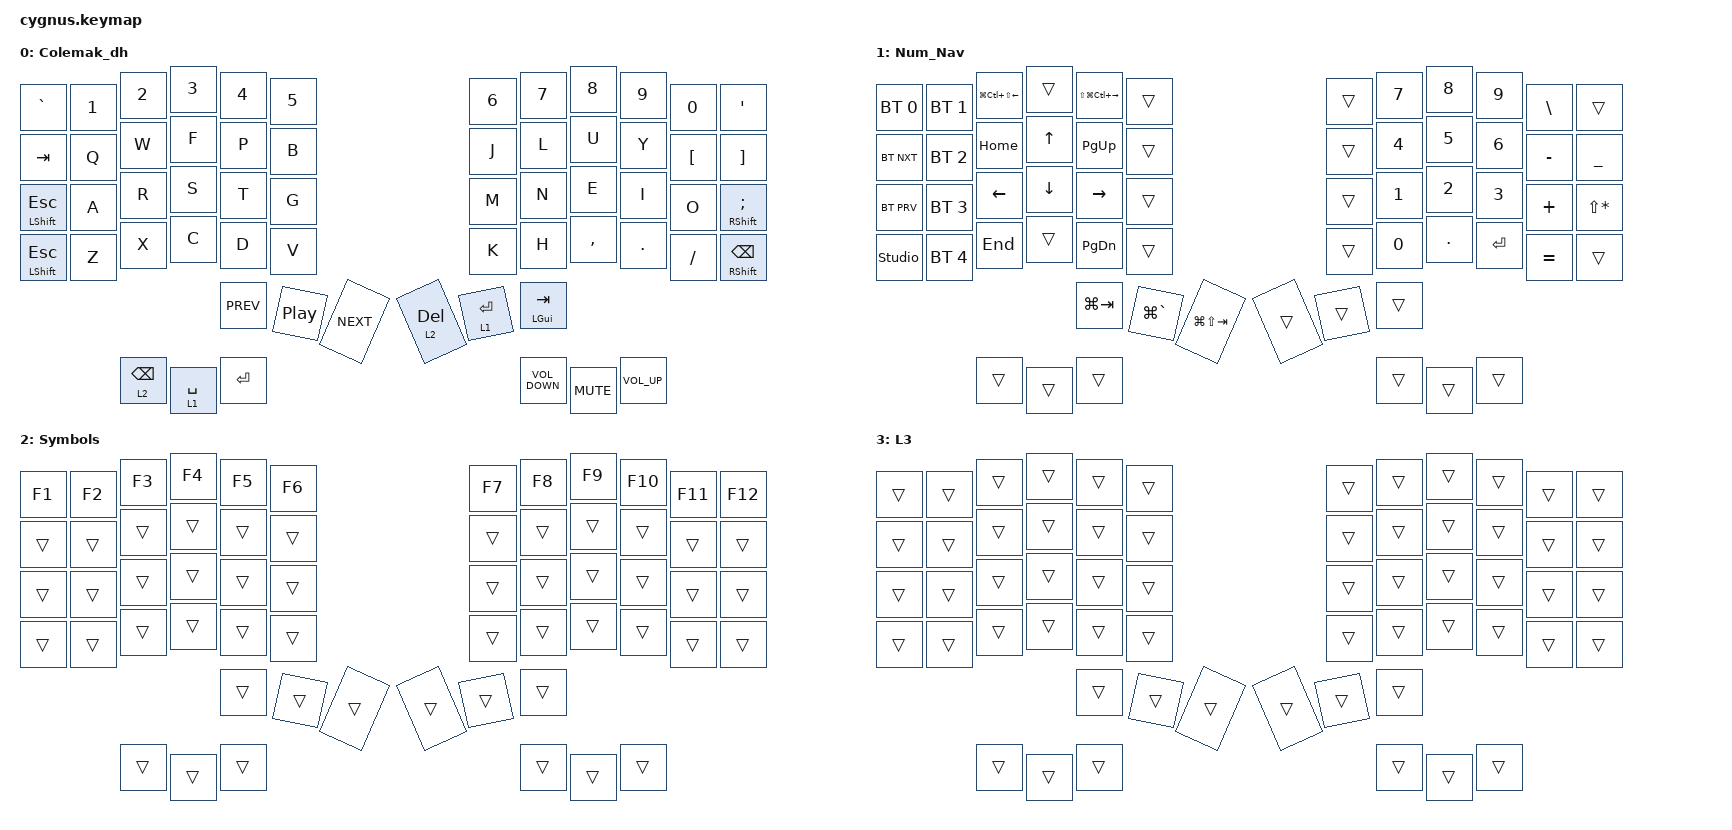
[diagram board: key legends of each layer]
/*
 * Copyright (c) 2020 The ZMK Contributors
 *
 * SPDX-License-Identifier: MIT
 */

#include <behaviors.dtsi>
#include <dt-bindings/zmk/bt.h>
#include <dt-bindings/zmk/keys.h>

#define DEF 0
#define LWR 1
#define RSE 2
#define ADJ 3

&lt { quick-tap-ms = <200>; };

&mt { quick-tap-ms = <200>; };

/ {
    conditional_layers {
        compatible = "zmk,conditional-layers";

        tri_layer {
            if-layers = <LWR RSE>;
            then-layer = <ADJ>;
        };
    };

    keymap {
        compatible = "zmk,keymap";

        Primary_layer {
            display-name = "Colemak_dh";
            bindings = <
  &kp GRAVE         &kp N1            &kp N2      &kp N3     &kp N4       &kp N5            &kp N6           &kp N7       &kp N8     &kp N9             &kp N0      &kp SQT
  &kp TAB           &kp Q             &kp W       &kp F      &kp P        &kp B             &kp J            &kp L        &kp U      &kp Y              &kp LBKT    &kp RBKT
  &mt LSHIFT ESC    &kp A             &kp R       &kp S      &kp T        &kp G             &kp M            &kp N        &kp E      &kp I              &kp O       &mt RIGHT_SHIFT SEMICOLON
  &mt LSHFT ESCAPE  &kp Z             &kp X       &kp C      &kp D        &kp V             &kp K            &kp H        &kp COMMA  &kp DOT            &kp FSLH    &mt RIGHT_SHIFT BACKSPACE
  &kp C_PREV        &kp C_PLAY_PAUSE  &kp C_NEXT  &lt 2 DEL  &lt 1 ENTER  &mt LEFT_GUI TAB  &lt 2 BACKSPACE  &lt 1 SPACE  &kp RET    &kp C_VOLUME_DOWN  &kp K_MUTE  &kp C_VOL_UP
            >;
        };

        lower_layer {
            display-name = "Num_Nav";
            bindings = <
  &bt BT_SEL 0    &bt BT_SEL 1   &kp LG(LC(LS(LEFT)))  &trans    &kp LS(LG(LC(RIGHT)))  &trans  &trans  &kp N7  &kp N8   &kp N9   &kp BACKSLASH  &trans
  &bt BT_NXT      &bt BT_SEL 2   &kp HOME              &kp UP    &kp PAGE_UP            &trans  &trans  &kp N4  &kp N5   &kp N6   &kp MINUS      &kp UNDERSCORE
  &bt BT_PRV      &bt BT_SEL 3   &kp LEFT              &kp DOWN  &kp RIGHT              &trans  &trans  &kp N1  &kp N2   &kp N3   &kp PLUS       &kp LS(ASTERISK)
  &studio_unlock  &bt BT_SEL 4   &kp END               &trans    &kp PAGE_DOWN          &trans  &trans  &kp N0  &kp DOT  &kp RET  &kp EQUAL      &trans
  &kp LG(TAB)     &kp LG(GRAVE)  &kp LG(LS(TAB))       &trans    &trans                 &trans  &trans  &trans  &trans   &trans   &trans         &trans
            >;
        };

        raise_layer {
            display-name = "Symbols";
            bindings = <
  &kp F1  &kp F2  &kp F3  &kp F4  &kp F5  &kp F6  &kp F7  &kp F8  &kp F9  &kp F10  &kp F11  &kp F12
  &trans  &trans  &trans  &trans  &trans  &trans  &trans  &trans  &trans  &trans   &trans   &trans
  &trans  &trans  &trans  &trans  &trans  &trans  &trans  &trans  &trans  &trans   &trans   &trans
  &trans  &trans  &trans  &trans  &trans  &trans  &trans  &trans  &trans  &trans   &trans   &trans
  &trans  &trans  &trans  &trans  &trans  &trans  &trans  &trans  &trans  &trans   &trans   &trans
            >;
        };

        adjust_layer {
            display-name = "L3";
            bindings = <
  &trans  &trans  &trans  &trans  &trans  &trans  &trans  &trans  &trans  &trans  &trans  &trans
  &trans  &trans  &trans  &trans  &trans  &trans  &trans  &trans  &trans  &trans  &trans  &trans
  &trans  &trans  &trans  &trans  &trans  &trans  &trans  &trans  &trans  &trans  &trans  &trans
  &trans  &trans  &trans  &trans  &trans  &trans  &trans  &trans  &trans  &trans  &trans  &trans
  &trans  &trans  &trans  &trans  &trans  &trans  &trans  &trans  &trans  &trans  &trans  &trans
            >;
        };

        extra1 { status = "reserved"; };

        extra2 { status = "reserved"; };

        extra3 { status = "reserved"; };
    };
};
